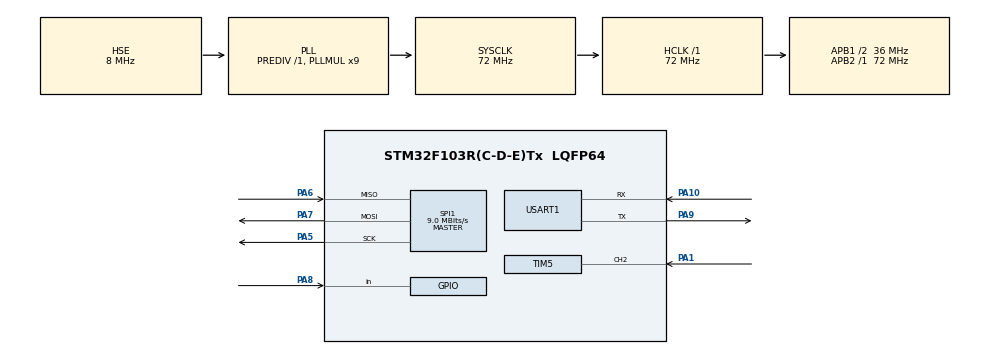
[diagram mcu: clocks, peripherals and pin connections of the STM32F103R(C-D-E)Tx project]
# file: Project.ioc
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FATFS._CODE_PAGE=437
FATFS._FS_LOCK=1
FATFS._FS_MINIMIZE=0
FATFS._FS_READONLY=0
FATFS._MAX_LFN=64
FATFS._MAX_SS=4096
FATFS._USE_LFN=0
Mcu.Family=STM32F1
Mcu.Name=STM32F103R(C-D-E)Tx
Mcu.Package=LQFP64
NVIC.PriorityGroup=NVIC_PRIORITYGROUP_2
NVIC.TIM6_IRQn=true\:1\:0\:true\:false\:true\:true\:true\:true
NVIC.USART1_IRQn=true\:1\:0\:true\:false\:true\:true\:true\:true
PA1.GPIO_PuPd=GPIO_PULLUP
PA1.Signal=S_TIM5_CH2
PA10.Mode=Asynchronous
PA10.Signal=USART1_RX
PA13.Mode=Serial_Wire
PA13.Signal=SYS_JTMS-SWDIO
PA14.Mode=Serial_Wire
PA14.Signal=SYS_JTCK-SWCLK
PA5.Mode=Full_Duplex_Master
PA5.Signal=SPI1_SCK
PA6.Mode=Full_Duplex_Master
PA6.Signal=SPI1_MISO
PA7.Mode=Full_Duplex_Master
PA7.Signal=SPI1_MOSI
PA8.GPIO_PuPd=GPIO_PULLDOWN
PA8.Signal=GPIO_Input
PA9.Mode=Asynchronous
PA9.Signal=USART1_TX
PC14-OSC32_IN.Mode=LSE-External-Oscillator
PC14-OSC32_IN.Signal=RCC_OSC32_IN
PC15-OSC32_OUT.Mode=LSE-External-Oscillator
PC15-OSC32_OUT.Signal=RCC_OSC32_OUT
PD0-OSC_IN.Mode=HSE-External-Oscillator
PD0-OSC_IN.Signal=RCC_OSC_IN
PD1-OSC_OUT.Mode=HSE-External-Oscillator
PD1-OSC_OUT.Signal=RCC_OSC_OUT
ProjectManager.HeapSize=0x400
ProjectManager.StackSize=0x1000
ProjectManager.TargetToolchain=STM32CubeIDE
RCC.AHBFreq_Value=72000000
RCC.APB1CLKDivider=RCC_HCLK_DIV2
RCC.APB1Freq_Value=36000000
RCC.APB1TimFreq_Value=72000000
RCC.APB2Freq_Value=72000000
RCC.APB2TimFreq_Value=72000000
RCC.HCLKFreq_Value=72000000
RCC.PLLMUL=RCC_PLL_MUL9
RCC.PLLSourceVirtual=RCC_PLLSOURCE_HSE
RCC.RTCClockSelection=RCC_RTCCLKSOURCE_LSE
RCC.SYSCLKFreq_VALUE=72000000
RCC.SYSCLKSource=RCC_SYSCLKSOURCE_PLLCLK
RCC.USBFreq_Value=72000000
SH.S_TIM5_CH2.0=TIM5_CH2,Input_Capture2_from_TI2
SPI1.BaudRatePrescaler=SPI_BAUDRATEPRESCALER_8
SPI1.CalculateBaudRate=9.0 MBits/s
SPI1.Direction=SPI_DIRECTION_2LINES
SPI1.Mode=SPI_MODE_MASTER
SPI1.VirtualType=VM_MASTER
TIM5.AutoReloadPreload=TIM_AUTORELOAD_PRELOAD_DISABLE
TIM5.Channel-Input_Capture2_from_TI2=TIM_CHANNEL_2
TIM5.ICFilter_CH2=3
TIM5.Period=10000
TIM5.Prescaler=71
TIM6.Period=999
TIM6.Prescaler=71
USART1.VirtualMode=VM_ASYNC
VP_FATFS_VS_Generic.Mode=User_defined
VP_TIM5_VS_ClockSourceINT.Mode=Internal
VP_TIM6_VS_ClockSourceINT.Mode=Enable_Timer
board=custom

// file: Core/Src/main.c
/* USER CODE BEGIN Header */
/**
 ******************************************************************************
 * @file           : main.c
 * @brief          : Main program body
 ******************************************************************************
 * @attention
 *
 * Copyright (c) 2023 STMicroelectronics.
 * All rights reserved.
 *
 * This software is licensed under terms that can be found in the LICENSE file
 * in the root directory of this software component.
 * If no LICENSE file comes with this software, it is provided AS-IS.
 *
 ******************************************************************************
 */
/* USER CODE END Header */
#include "main.h"
#include "fatfs.h"
#include "spi.h"
#include "tim.h"
#include "usart.h"
#include "gpio.h"

/* USER CODE BEGIN Includes */
#include "lcd.h"
#include "touch.h"
#include "remote.h"
#include "24cxx.h"
#include "24l01.h"
#include "ff.h"
#include "lv_conf.h"
#include "lv_port_disp.h"
#include "lv_port_indev.h"
#include "gui_guider.h"

#include <stdio.h>
#include <string.h>
#include "chat.h"
/* USER CODE END Includes */

void SystemClock_Config(void);

/* USER CODE BEGIN 0 */
lv_ui guider_ui;
u8 key, mode;
u8 tmp_buf[33];
u16 t=0;
extern UART_HandleTypeDef huart1;
extern uint8_t uBuffer[20];
extern u8 current_user;
u8 user0_online = 0;
u8 user1_online = 0;
/* USER CODE END 0 */

int main(void)
{

  /* MCU Configuration--------------------------------------------------------*/

  /* Reset of all peripherals, Initializes the Flash interface and the Systick. */
  HAL_Init();

  /* Configure the system clock */
  SystemClock_Config();

  /* Initialize all configured peripherals */
  MX_GPIO_Init();
  MX_USART1_UART_Init();
  MX_SPI1_Init();
  MX_FATFS_Init();
  MX_TIM5_Init();
  MX_TIM6_Init();
  /* USER CODE BEGIN 2 */
  NRF24L01_Init();
  Remote_Init();
  LCD_Init();
  tp_dev.init();
  HAL_UART_Receive_IT(&huart1, (uint8_t *)uBuffer,1);
  HAL_TIM_Base_Start_IT(&htim6);
  f_mount(&USERFatFS, USERPath, 0);
  printf("USERPath: %s\r\n", USERPath);
  lv_init();
  lv_port_disp_init();
  lv_port_indev_init();
  setup_ui(&guider_ui);

  /* USER CODE END 2 */

  /* Infinite loop */
  /* USER CODE BEGIN WHILE */
  if(lv_scr_act() == guider_ui.Homepage){
  		  if(current_user == 0){
  		  	  lv_label_set_text(guider_ui.Homepage_username_label, "Jerry");
  		    }else if (current_user == 1){
  		  	  lv_label_set_text(guider_ui.Homepage_username_label, "Tom");
  		    }else if (current_user == 2){
  		  	  lv_label_set_text(guider_ui.Homepage_username_label, "Scott");
  		    }
  }
  while (1)
  {
	  t++;
	  if(t == 30){
		  t = 0;
		  strcpy((char *)tmp_buf, "Hello!");
			if(simple_send(ECHO, current_user, 0, tmp_buf)){
				if(user0_online == false){
					user0_online = true;
					pop_msgbox("user0 online");

				}

			}else{
				if(user0_online == true){
					user0_online = false;
					pop_msgbox("user0 offline");
				}

			}

			if(simple_send(ECHO, current_user, 1, tmp_buf)){
				if(user1_online == false){
					user1_online = true;
					pop_msgbox("user1 online");

				}

			}else{
				if(user1_online == true){

					user1_online = false;
					pop_msgbox("user1 offline");

				}
			}

		  if(lv_scr_act() == guider_ui.chat){
			  if(user0_online){
				  lv_obj_set_style_text_color(guider_ui.chat_btn_1, lv_color_hex(0xffffff), LV_PART_MAIN|LV_STATE_DEFAULT);
			  }else{
				  lv_obj_set_style_text_color(guider_ui.chat_btn_1, lv_color_hex(0xff0000), LV_PART_MAIN|LV_STATE_DEFAULT);
			  }

			  if(user1_online){
				  lv_obj_set_style_text_color(guider_ui.chat_btn_2, lv_color_hex(0xffffff), LV_PART_MAIN|LV_STATE_DEFAULT);
			  }else{
				  lv_obj_set_style_text_color(guider_ui.chat_btn_2, lv_color_hex(0xff0000), LV_PART_MAIN|LV_STATE_DEFAULT);
			  }
		  }
	  }

    /* USER CODE END WHILE */

    /* USER CODE BEGIN 3 */
    lv_task_handler();
    HAL_Delay(100);
  }
  /* USER CODE END 3 */
}

void SystemClock_Config(void)
{
  RCC_OscInitTypeDef RCC_OscInitStruct = {0};
  RCC_ClkInitTypeDef RCC_ClkInitStruct = {0};

  /** Initializes the RCC Oscillators according to the specified parameters
  * in the RCC_OscInitTypeDef structure.
  */
  RCC_OscInitStruct.OscillatorType = RCC_OSCILLATORTYPE_HSE;
  RCC_OscInitStruct.HSEState = RCC_HSE_ON;
  RCC_OscInitStruct.HSEPredivValue = RCC_HSE_PREDIV_DIV1;
  RCC_OscInitStruct.HSIState = RCC_HSI_ON;
  RCC_OscInitStruct.PLL.PLLState = RCC_PLL_ON;
  RCC_OscInitStruct.PLL.PLLSource = RCC_PLLSOURCE_HSE;
  RCC_OscInitStruct.PLL.PLLMUL = RCC_PLL_MUL9;
  if (HAL_RCC_OscConfig(&RCC_OscInitStruct) != HAL_OK)
  {
    Error_Handler();
  }

  /** Initializes the CPU, AHB and APB buses clocks
  */
  RCC_ClkInitStruct.ClockType = RCC_CLOCKTYPE_HCLK|RCC_CLOCKTYPE_SYSCLK
                              |RCC_CLOCKTYPE_PCLK1|RCC_CLOCKTYPE_PCLK2;
  RCC_ClkInitStruct.SYSCLKSource = RCC_SYSCLKSOURCE_PLLCLK;
  RCC_ClkInitStruct.AHBCLKDivider = RCC_SYSCLK_DIV1;
  RCC_ClkInitStruct.APB1CLKDivider = RCC_HCLK_DIV2;
  RCC_ClkInitStruct.APB2CLKDivider = RCC_HCLK_DIV1;

  if (HAL_RCC_ClockConfig(&RCC_ClkInitStruct, FLASH_LATENCY_2) != HAL_OK)
  {
    Error_Handler();
  }
}

void Error_Handler(void)
{
  __disable_irq();
  while (1)
  {
  }
}
